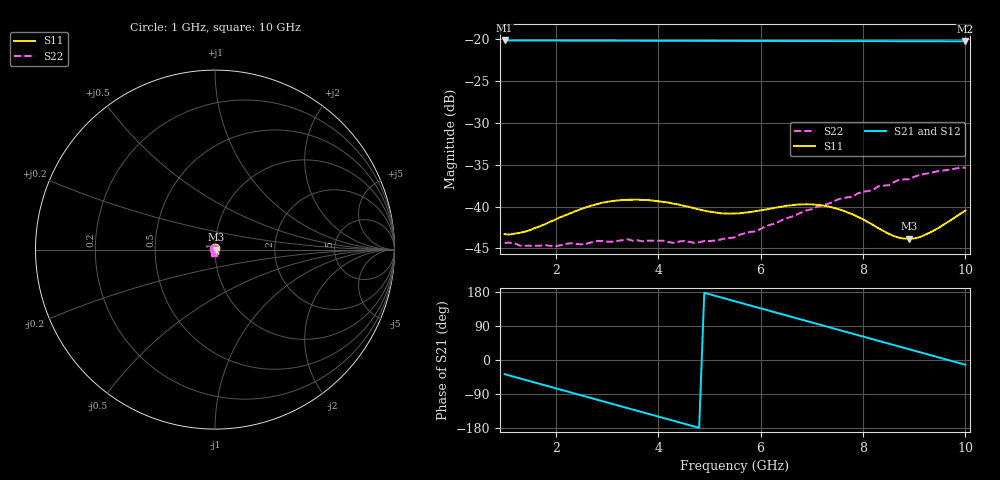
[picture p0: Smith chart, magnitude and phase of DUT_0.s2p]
# GHZ S RI R 50
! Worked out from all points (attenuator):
!   91 points, 1 GHz to 10 GHz, reference 50 ohm
!   highest |S21| = -20.12 dB at 1 GHz (marker M1); lowest = -20.2 dB at 10 GHz (marker M2)
!   lowest |S11| = -43.8 dB at 8.9 GHz (marker M3), VSWR 1.01, Z = 50.6 - j0.0764 ohm
!   |S11| at or under -10 dB: start of sweep to end of sweep
!   |S22| runs from -44.7 to -35.3 dB; largest |S21 - S12| = 0.00014
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1  0.000184 0.00684  0.0783 -0.0599  0.0783 -0.0599  -0.00574 0.00197
1.5  0.00456 0.00563  0.055 -0.0818  0.055 -0.0817  -0.0055 0.00197
2.5  0.00954 -0.00167  -0.00581 -0.0982  -0.00572 -0.0981  -0.00573 0.00163
2.8  0.00938 -0.00435  -0.0247 -0.0952  -0.0246 -0.0951  -0.00608 0.00139
3.2  0.00793 -0.00745  -0.0483 -0.0855  -0.0482 -0.0856  -0.0062 0.00068
3.4  0.00676 -0.00866  -0.059 -0.0785  -0.0589 -0.0786  -0.00638 0.000165
4  0.00195 -0.0106  -0.0844 -0.0502  -0.0843 -0.0502  -0.00605 -0.00155
4.7  -0.0042 -0.00884  -0.0977 -0.00805  -0.0977 -0.00807  -0.00513 -0.00327
5.2  -0.00756 -0.00513  -0.0951 0.0236  -0.0951 0.0235  -0.00473 -0.00422
5.5  -0.00881 -0.00231  -0.0887 0.0416  -0.0887 0.0415  -0.00469 -0.00459
5.9  -0.00924 0.00177  -0.0751 0.0629  -0.0751 0.0629  -0.00475 -0.0053
6.5  -0.00714 0.00716  -0.0455 0.0867  -0.0456 0.0866  -0.00516 -0.00677
7  -0.00358 0.00968  -0.0155 0.0966  -0.0155 0.0966  -0.00526 -0.0081
7.6  0.00135 0.0094  0.0224 0.0951  0.0223 0.0951  -0.00524 -0.00993
7.8  0.0028 0.00854  0.0345 0.0914  0.0345 0.0914  -0.00493 -0.0104
8.3  0.0055 0.005  0.0619 0.0755  0.0618 0.0756  -0.00522 -0.0121
8.5  0.00612 0.00316  0.0711 0.0669  0.0711 0.0669  -0.00524 -0.0124
8.7  0.0064 0.00125  0.0792 0.0571  0.0791 0.0571  -0.00541 -0.0134
8.9  0.00638 -0.000755  0.0859 0.0464  0.0858 0.0465  -0.00519 -0.0136
9.1  0.00598 -0.00269  0.0911 0.0348  0.0911 0.0349  -0.00527 -0.0145
9.3  0.00527 -0.00458  0.0949 0.0227  0.0948 0.0228  -0.00499 -0.015
10  0.00023 -0.00947  0.0951 -0.0213  0.0951 -0.0212  -0.00431 -0.0166
